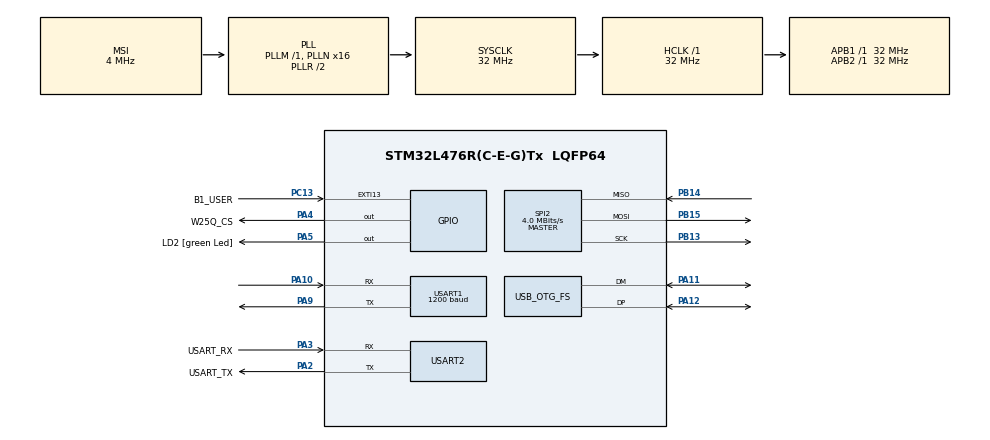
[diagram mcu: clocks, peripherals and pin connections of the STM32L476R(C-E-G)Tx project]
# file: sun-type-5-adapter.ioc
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CRC.InputDataInversionMode=CRC_INPUTDATA_INVERSION_BYTE
CRC.OutputDataInversionMode=CRC_OUTPUTDATA_INVERSION_ENABLE
FREERTOS.Tasks01=defaultTask,24,128,StartDefaultTask,Default,NULL,Dynamic,NULL,NULL
FREERTOS.configTOTAL_HEAP_SIZE=10240
Mcu.Family=STM32L4
Mcu.Name=STM32L476R(C-E-G)Tx
Mcu.Package=LQFP64
NVIC.EXTI15_10_IRQn=true\:5\:0\:false\:false\:true\:true\:true\:true\:true
NVIC.OTG_FS_IRQn=true\:5\:0\:false\:false\:true\:true\:true\:true\:true
NVIC.PriorityGroup=NVIC_PRIORITYGROUP_4
NVIC.TIM6_DAC_IRQn=true\:15\:0\:false\:false\:true\:false\:false\:true\:true
NVIC.TimeBase=TIM6_DAC_IRQn
NVIC.TimeBaseIP=TIM6
NVIC.USART1_IRQn=true\:5\:0\:false\:false\:true\:true\:true\:true\:true
PA10.Mode=Asynchronous
PA10.Signal=USART1_RX
PA11.Mode=Device_Only
PA11.Signal=USB_OTG_FS_DM
PA12.Mode=Device_Only
PA12.Signal=USB_OTG_FS_DP
PA13\ (JTMS-SWDIO).GPIO_Label=TMS
PA13\ (JTMS-SWDIO).Mode=Serial_Wire
PA13\ (JTMS-SWDIO).Signal=SYS_JTMS-SWDIO
PA14\ (JTCK-SWCLK).GPIO_Label=TCK
PA14\ (JTCK-SWCLK).Mode=Serial_Wire
PA14\ (JTCK-SWCLK).Signal=SYS_JTCK-SWCLK
PA2.GPIO_Label=USART_TX
PA2.GPIO_Mode=GPIO_MODE_AF_PP
PA2.GPIO_PuPd=GPIO_NOPULL
PA2.GPIO_Speed=GPIO_SPEED_FREQ_VERY_HIGH
PA2.Mode=Asynchronous
PA2.Signal=USART2_TX
PA3.GPIO_Label=USART_RX
PA3.GPIO_Mode=GPIO_MODE_AF_PP
PA3.GPIO_PuPd=GPIO_NOPULL
PA3.GPIO_Speed=GPIO_SPEED_FREQ_VERY_HIGH
PA3.Mode=Asynchronous
PA3.Signal=USART2_RX
PA4.GPIO_Label=W25Q_CS
PA4.GPIO_Speed=GPIO_SPEED_FREQ_VERY_HIGH
PA4.PinState=GPIO_PIN_SET
PA4.Signal=GPIO_Output
PA5.GPIO_Label=LD2 [green Led]
PA5.GPIO_ModeDefaultOutputPP=GPIO_MODE_OUTPUT_PP
PA5.GPIO_PuPd=GPIO_NOPULL
PA5.GPIO_Speed=GPIO_SPEED_FREQ_LOW
PA5.Signal=GPIO_Output
PA9.Mode=Asynchronous
PA9.Signal=USART1_TX
PB13.Mode=Full_Duplex_Master
PB13.Signal=SPI2_SCK
PB14.Mode=Full_Duplex_Master
PB14.Signal=SPI2_MISO
PB15.Mode=Full_Duplex_Master
PB15.Signal=SPI2_MOSI
PB3\ (JTDO-TRACESWO).GPIO_Label=SWO
PB3\ (JTDO-TRACESWO).Signal=SYS_JTDO-SWO
PC13.GPIO_Label=B1_USER
PC13.GPIO_ModeDefaultEXTI=GPIO_MODE_IT_FALLING
PC13.GPIO_PuPd=GPIO_PULLUP
PC13.Signal=GPXTI13
PC14-OSC32_IN\ (PC14).Mode=LSE-External-Oscillator
PC14-OSC32_IN\ (PC14).Signal=RCC_OSC32_IN
PC15-OSC32_OUT\ (PC15).Mode=LSE-External-Oscillator
PC15-OSC32_OUT\ (PC15).Signal=RCC_OSC32_OUT
PH0-OSC_IN\ (PH0).Signal=RCC_OSC_IN
PH1-OSC_OUT\ (PH1).Signal=RCC_OSC_OUT
ProjectManager.HeapSize=0x200
ProjectManager.StackSize=0x400
ProjectManager.TargetToolchain=CMake
RCC.ADCFreq_Value=48000000
RCC.AHBFreq_Value=32000000
RCC.APB1Freq_Value=32000000
RCC.APB1TimFreq_Value=32000000
RCC.APB2Freq_Value=32000000
RCC.APB2TimFreq_Value=32000000
RCC.CortexFreq_Value=32000000
RCC.HCLKFreq_Value=32000000
RCC.HSE_VALUE=8000000
RCC.HSI_VALUE=16000000
RCC.MSI_VALUE=4000000
RCC.PLLN=16
RCC.PLLSAI1N=24
RCC.PREFETCH_ENABLE=1
RCC.SYSCLKFreq_VALUE=32000000
RCC.SYSCLKSource=RCC_SYSCLKSOURCE_PLLCLK
RCC.USART1CLockSelection=RCC_USART1CLKSOURCE_HSI
RCC.USBFreq_Value=48000000
RCC.VCOOutputFreq_Value=64000000
SPI2.BaudRatePrescaler=SPI_BAUDRATEPRESCALER_8
SPI2.CalculateBaudRate=4.0 MBits/s
SPI2.DataSize=SPI_DATASIZE_8BIT
SPI2.Direction=SPI_DIRECTION_2LINES
SPI2.Mode=SPI_MODE_MASTER
SPI2.NSSPMode=SPI_NSS_PULSE_DISABLE
SPI2.VirtualType=VM_MASTER
USART1.BaudRate=1200
USART1.RxPinLevelInvertParam=ADVFEATURE_RXINV_ENABLE
USART1.TxPinLevelInvertParam=ADVFEATURE_TXINV_ENABLE
USART1.VirtualMode-Asynchronous=VM_ASYNC
USART2.VirtualMode-Asynchronous=VM_ASYNC
USB_OTG_FS.VirtualMode=Device_Only
VP_CRC_VS_CRC.Mode=CRC_Activate
VP_FREERTOS_VS_CMSIS_V2.Mode=CMSIS_V2
VP_SYS_VS_tim6.Mode=TIM6
board=NUCLEO-L476RG

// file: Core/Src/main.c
/* USER CODE BEGIN Header */
/**
  ******************************************************************************
  * @file           : main.c
  * @brief          : Main program body
  ******************************************************************************
  * @attention
  *
  * Copyright (c) 2026 STMicroelectronics.
  * All rights reserved.
  *
  * This software is licensed under terms that can be found in the LICENSE file
  * in the root directory of this software component.
  * If no LICENSE file comes with this software, it is provided AS-IS.
  *
  ******************************************************************************
  */
/* USER CODE END Header */
#include "main.h"
#include "cmsis_os.h"
#include "crc.h"
#include "spi.h"
#include "usart.h"
#include "usb_otg.h"
#include "gpio.h"
#include "crc32.h"

/* USER CODE BEGIN Includes */
#include <stdio.h>

#include "storage.h"
#include "w25q.h"
#include "sun_io.h"
/* USER CODE END Includes */

void SystemClock_Config(void);
void MX_FREERTOS_Init(void);

int main(void)
{

  /* MCU Configuration--------------------------------------------------------*/

  /* Reset of all peripherals, Initializes the Flash interface and the Systick. */
  HAL_Init();

  /* Configure the system clock */
  SystemClock_Config();

  /* Initialize all configured peripherals */
  MX_GPIO_Init();
  MX_USART2_UART_Init();
  MX_USART1_UART_Init();
  MX_USB_OTG_FS_PCD_Init();
  MX_SPI2_Init();
  MX_CRC_Init();
  /* USER CODE BEGIN 2 */
  setvbuf(stdout, NULL, _IONBF, 0); // Turning off buffer
  /* HAL_PCD_MspInit (in usb_otg.c) enables OTG_FS_IRQn at NVIC level.
   * Defer until tusb_init() completes in the USB task, to handle the
   * bus-powered cold-start case (USB physically attached when MCU boots)
   * without a window where interrupts arrive before TinyUSB is ready. */
  HAL_NVIC_DisableIRQ(OTG_FS_IRQn);

  w25q_init();

  /* USER CODE END 2 */

  /* Init scheduler */
  osKernelInitialize();  /* Call init function for freertos objects (in cmsis_os2.c) */
  MX_FREERTOS_Init();

  /* Start scheduler */
  osKernelStart();

  /* We should never get here as control is now taken by the scheduler */

  /* Infinite loop */
  while (1)
  {

  }
}

void SystemClock_Config(void)
{
  RCC_OscInitTypeDef RCC_OscInitStruct = {0};
  RCC_ClkInitTypeDef RCC_ClkInitStruct = {0};

  /** Configure the main internal regulator output voltage
  */
  if (HAL_PWREx_ControlVoltageScaling(PWR_REGULATOR_VOLTAGE_SCALE1) != HAL_OK)
  {
    Error_Handler();
  }

  /** Configure LSE Drive Capability
  */
  HAL_PWR_EnableBkUpAccess();
  __HAL_RCC_LSEDRIVE_CONFIG(RCC_LSEDRIVE_LOW);

  /** Initializes the RCC Oscillators according to the specified parameters
  * in the RCC_OscInitTypeDef structure.
  */
  RCC_OscInitStruct.OscillatorType = RCC_OSCILLATORTYPE_HSI|RCC_OSCILLATORTYPE_LSE
                              |RCC_OSCILLATORTYPE_MSI;
  RCC_OscInitStruct.LSEState = RCC_LSE_ON;
  RCC_OscInitStruct.HSIState = RCC_HSI_ON;
  RCC_OscInitStruct.HSICalibrationValue = RCC_HSICALIBRATION_DEFAULT;
  RCC_OscInitStruct.MSIState = RCC_MSI_ON;
  RCC_OscInitStruct.MSICalibrationValue = 0;
  RCC_OscInitStruct.MSIClockRange = RCC_MSIRANGE_6;
  RCC_OscInitStruct.PLL.PLLState = RCC_PLL_ON;
  RCC_OscInitStruct.PLL.PLLSource = RCC_PLLSOURCE_MSI;
  RCC_OscInitStruct.PLL.PLLM = 1;
  RCC_OscInitStruct.PLL.PLLN = 16;
  RCC_OscInitStruct.PLL.PLLP = RCC_PLLP_DIV7;
  RCC_OscInitStruct.PLL.PLLQ = RCC_PLLQ_DIV2;
  RCC_OscInitStruct.PLL.PLLR = RCC_PLLR_DIV2;
  if (HAL_RCC_OscConfig(&RCC_OscInitStruct) != HAL_OK)
  {
    Error_Handler();
  }

  /** Initializes the CPU, AHB and APB buses clocks
  */
  RCC_ClkInitStruct.ClockType = RCC_CLOCKTYPE_HCLK|RCC_CLOCKTYPE_SYSCLK
                              |RCC_CLOCKTYPE_PCLK1|RCC_CLOCKTYPE_PCLK2;
  RCC_ClkInitStruct.SYSCLKSource = RCC_SYSCLKSOURCE_PLLCLK;
  RCC_ClkInitStruct.AHBCLKDivider = RCC_SYSCLK_DIV1;
  RCC_ClkInitStruct.APB1CLKDivider = RCC_HCLK_DIV1;
  RCC_ClkInitStruct.APB2CLKDivider = RCC_HCLK_DIV1;

  if (HAL_RCC_ClockConfig(&RCC_ClkInitStruct, FLASH_LATENCY_1) != HAL_OK)
  {
    Error_Handler();
  }

  /** Enable MSI Auto calibration
  */
  HAL_RCCEx_EnableMSIPLLMode();
}

/* USER CODE BEGIN 4 */
/**
 * @brief Override newlib's putchar; redirect printf to VCP (USART2).
 *
 * newlib's @c printf / @c puts / etc. eventually call @c _write(),
 * which in turn calls @c __io_putchar() one character at a time.
 * @c __io_putchar is declared @c __weak in syscalls.c with an empty
 * body — defining this strong version overrides it and routes
 * character output to USART2 (the ST-LINK VCP).
 *
 * Uses blocking @c HAL_UART_Transmit. Safe to invoke from task context
 * (including from any task that calls printf).
 *
 * @param ch The character to output (passed as @c int per C89 convention;
 *           only the low byte is used).
 * @return The character output (i.e. @p ch), so callers can detect EOF
 *         or chain calls.
 *
 * @warning Blocking transmission — do NOT call printf from ISR context.
 *          ~87 µs per char at 115200 baud; a typical "0x%02X\r\n"
 *          blocks for ~500 µs.
 * @note Disabling stdout buffering via @c setvbuf(stdout, NULL, _IONBF, 0)
 *       at startup makes each printf flush immediately — useful for
 *       interleaved debug output.
 */
int __io_putchar(int ch)
{
  uint8_t c = (uint8_t)ch;
  HAL_UART_Transmit(&huart2, &c, 1, HAL_MAX_DELAY);
  return ch;
}

/**
 * @brief Processing user key stroke.
 */
void HAL_GPIO_EXTI_Callback(uint16_t GPIO_Pin)
{
  if (GPIO_Pin == B1_USER_Pin) {
    sun_io_request_reset();
  }
}
/* USER CODE END 4 */

void HAL_TIM_PeriodElapsedCallback(TIM_HandleTypeDef *htim)
{
  if (htim->Instance == TIM6)
  {
    HAL_IncTick();
  }
}

void Error_Handler(void)
{
  __disable_irq();
  while (1)
  {
  }
}

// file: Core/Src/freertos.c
/* USER CODE BEGIN Header */
/**
  ******************************************************************************
  * File Name          : freertos.c
  * Description        : Code for freertos applications
  ******************************************************************************
  * @attention
  *
  * Copyright (c) 2026 STMicroelectronics.
  * All rights reserved.
  *
  * This software is licensed under terms that can be found in the LICENSE file
  * in the root directory of this software component.
  * If no LICENSE file comes with this software, it is provided AS-IS.
  *
  ******************************************************************************
  */
/* USER CODE END Header */

#include "FreeRTOS.h"
#include "task.h"
#include "main.h"
#include "cmsis_os.h"

/* USER CODE BEGIN Includes */
#include "tusb.h"
#include "sun_io.h"
#include "sun_protocol.h"
#include "sun_keymap.h"
#include "hid_keyboard.h"
#include "hid_extra.h"
#include "usb_mode.h"
#include "settings.h"
#include "storage.h"
#include "registry.h"
#include "remap.h"
/* USER CODE END Includes */

/* USER CODE BEGIN Variables */
/* USB device task: handles all USB events and drives TinyUSB stack */
osThreadId_t usbTaskHandle;
const osThreadAttr_t usbTask_attributes = {
  .name = "usbTask",
  .stack_size = 1024 * 4,                       /* 4 KB stack */
  .priority = (osPriority_t) osPriorityRealtime,/* Highest - USB has strict timing */
};
osThreadId_t sunKeyboardTaskHandle;
const osThreadAttr_t sunKeyboardTask_attributes = {
  .name = "sunKbd",
  .stack_size = 2048,
  .priority = osPriorityAboveNormal,
};
/* USER CODE END Variables */
/* Definitions for defaultTask */
osThreadId_t defaultTaskHandle;
const osThreadAttr_t defaultTask_attributes = {
  .name = "defaultTask",
  .stack_size = 128 * 4,
  .priority = (osPriority_t) osPriorityNormal,
};

/* USER CODE BEGIN FunctionPrototypes */
void StartUsbTask(void *argument);
void StartSunKeyboardTask(void *argument);
/* USER CODE END FunctionPrototypes */

void StartDefaultTask(void *argument);

void MX_FREERTOS_Init(void); /* (MISRA C 2004 rule 8.1) */

void MX_FREERTOS_Init(void) {

  /* Create the thread(s) */
  /* creation of defaultTask */
  defaultTaskHandle = osThreadNew(StartDefaultTask, NULL, &defaultTask_attributes);

  /* USER CODE BEGIN RTOS_THREADS */
  /* creation of usbTask */
  usbTaskHandle = osThreadNew(StartUsbTask, NULL, &usbTask_attributes);
  sunKeyboardTaskHandle = osThreadNew(StartSunKeyboardTask, NULL, &sunKeyboardTask_attributes);
  if (!sun_io_init(sunKeyboardTaskHandle)) {
    /* sun_io_init 失败 —— HAL_UART_Receive_IT 没起来
     * 这里可以 Error_Handler() 或 LED 闪烁告警
     * 目前先什么都不做，sunKeyboardTask 会一直 wait 没有通知 */
  }
  /* USER CODE END RTOS_THREADS */

}

void StartDefaultTask(void *argument)
{
  for(;;)
  {
    osDelay(1);
  }
}

/* USER CODE BEGIN Application */

/*-----------------------------------------------------------*/
/* USB device task                                           */
/*-----------------------------------------------------------*/

/**
  * @brief  USB device task. Initializes TinyUSB, then processes events forever.
  *         Must run at highest priority. tud_task() blocks on internal
  *         semaphore until USB events arrive, so no vTaskDelay is needed.
  */
void StartUsbTask(void *argument)
{
  (void) argument;

  /* DIAGNOSTIC: blink LD2 3 times to prove task is scheduled */
  for (int i = 0; i < 3; i++) {
    HAL_GPIO_WritePin(LD2_GPIO_Port, LD2_Pin, GPIO_PIN_SET);
    osDelay(200);
    HAL_GPIO_WritePin(LD2_GPIO_Port, LD2_Pin, GPIO_PIN_RESET);
    osDelay(200);
  }

  /* Initialize TinyUSB device stack on roothub port 0 */
  tusb_rhport_init_t dev_init = {
    .role  = TUSB_ROLE_DEVICE,
    .speed = TUSB_SPEED_AUTO
  };

  storage_mount();        /* 挂载 flash 对象存储（开机仅一次） */
  registry_init();        /* 把持久化设置读进 RAM 缓存 */
  remap_init();        /* 载入重映射覆盖表 */
  usb_mode_init();        /* 据此设定当前模式 */
  tusb_init(0, &dev_init);

  USB_OTG_FS->GCCFG &= ~USB_OTG_GCCFG_VBDEN;
  HAL_NVIC_EnableIRQ(OTG_FS_IRQn);
  /* RTOS forever loop */
  for(;;)
  {
    tud_task();
  }
}

/**
 * @brief One-shot timer callback. Runs in the RTOS timer service task, NOT in
 * the keyboard task — so it only signals via a thread flag and touches
 * no shared state. The keyboard task does the actual mode change.
 *
 */
static void longpress_cb(void *arg)
{
  (void) arg;
  osThreadFlagsSet(sunKeyboardTaskHandle, NOTIFY_SETTINGS_ENTER);
}

static void settings_blink_error(void)
{
  bool sound = (registry()->feedback_sound != 0);
  for (int i = 0; i < 4; i++) {
    sun_io_set_raw_led(0x00); osDelay(50);
    if (sound) sun_io_bell_off();
    sun_io_set_raw_led(0x0F); osDelay(50);   /* 收在全亮，回到设置模式常态 */
    if (i != 3)  if (sound) sun_io_bell_on();
  }
}

static void settings_apply_result(settings_result_t r, bool *settings_mode)
{
  switch (r) {
  case SETTINGS_CONTINUE:
    break;
  case SETTINGS_ERROR:
    settings_blink_error();
    break;
  case SETTINGS_DONE:
    sun_io_set_raw_led(0x00);
    osDelay(250);
    sun_io_set_raw_led(0x0F);
    if (registry()->feedback_sound) sun_io_bell_on();
    osDelay(750);
    if (registry()->feedback_sound) sun_io_bell_off();
    *settings_mode = false;
    sun_io_flush_led();
    break;
  case SETTINGS_CANCEL:
    *settings_mode = false;
    sun_io_flush_led();
    break;
  }
}

/**
 * @brief Start the keyboard task
 *
 * Drains the ring buffer.
 */
void StartSunKeyboardTask(void *argument)
{
  (void)argument;
  sun_protocol_t parser;
  hid_keyboard_state_t kbd;
  bool settings_mode = false;
  osTimerId_t longpress_timer = osTimerNew(longpress_cb, osTimerOnce, NULL, NULL);

  sun_protocol_init(&parser);
  hid_keyboard_init(&kbd);

  for (;;) {
    uint32_t flags = osThreadFlagsWait(
        SUN_IO_NOTIFY_RX_AVAILABLE | SUN_IO_NOTIFY_LED_PENDING | SUN_IO_NOTIFY_RESET_PENDING
        | NOTIFY_SETTINGS_ENTER,
        osFlagsWaitAny,
        osWaitForever);

    if (flags & NOTIFY_SETTINGS_ENTER) {
      settings_mode = true;
      settings_enter();              /* 复位状态机到顶层 */
      sun_io_set_raw_led(0x0F);
    }

    if (flags & SUN_IO_NOTIFY_RX_AVAILABLE)
    {
      uint8_t byte;
      while (sun_io_get_byte(&byte)) {
        sun_event_t ev = sun_protocol_decode_byte(&parser, byte);
        switch (ev.type) {

        case SUN_EVENT_MAKE: {
            sun_key_t k = sun_keymap_lookup(ev.data);

            if (settings_mode) {
              settings_apply_result(settings_key(ev.data, k), &settings_mode);
              break;
            }

            const remap_target_t *rt = remap_lookup(ev.data);   /* 重映射优先 */
            if (rt) {
              hid_keyboard_press_modifier(&kbd, rt->modifiers);
              for (uint8_t n = 0; n < rt->key_count; n++)
                hid_keyboard_press_key(&kbd, rt->keys[n]);
              break;
            }

            switch (k.kind) {
            case SUN_KEY_KIND_KEYBOARD:
              hid_keyboard_press_key(&kbd, (uint8_t)k.code);
              break;
            case SUN_KEY_KIND_MODIFIER:
              hid_keyboard_press_modifier(&kbd, (uint8_t)k.code);
              break;
            case SUN_KEY_KIND_CONSUMER:
              hid_keyboard_press_consumer(&kbd, (uint16_t)k.code);
              break;
            case SUN_KEY_KIND_SYSTEM:
              hid_keyboard_press_system(&kbd, (uint8_t)k.code);
              break;
            case SUN_KEY_KIND_INTERNAL:
              osTimerStart(longpress_timer, 500U);   /* arm long-press (~1.5s @ 1ms tick) */
              break;
            case SUN_KEY_KIND_NONE:
              break;
            }
            break;
        }

        case SUN_EVENT_BREAK: {
            sun_key_t k = sun_keymap_lookup(ev.data);

            if (settings_mode) {
              break;
            }

            const remap_target_t *rt = remap_lookup(ev.data);
            if (rt) {
              for (uint8_t n = 0; n < rt->key_count; n++)
                hid_keyboard_release_key(&kbd, rt->keys[n]);
              hid_keyboard_release_modifier(&kbd, rt->modifiers);
              break;
            }

            switch (k.kind) {
            case SUN_KEY_KIND_KEYBOARD:
              hid_keyboard_release_key(&kbd, (uint8_t)k.code);
              break;
            case SUN_KEY_KIND_MODIFIER:
              hid_keyboard_release_modifier(&kbd, (uint8_t)k.code);
              break;
            case SUN_KEY_KIND_CONSUMER:
              hid_keyboard_release_consumer(&kbd);
              break;
            case SUN_KEY_KIND_SYSTEM:
              hid_keyboard_release_system(&kbd, (uint8_t)k.code);
              break;
            case SUN_KEY_KIND_INTERNAL:
              osTimerStop(longpress_timer);   /* released within 1.5s = short press, cancel */
              break;
            case SUN_KEY_KIND_NONE:
              break;
            }
            break;
        }

        case SUN_EVENT_ALL_KEYS_UP:
          if (settings_mode) {
            settings_apply_result(settings_all_keys_up(), &settings_mode);
          } else {
            hid_keyboard_reset(&kbd);
            hid_keyboard_reset_consumer(&kbd);
            hid_keyboard_reset_system(&kbd);
          }
          break;

        case SUN_EVENT_RESET:
          hid_keyboard_reset(&kbd);
          hid_keyboard_reset_consumer(&kbd);
          hid_keyboard_reset_system(&kbd);
          click_init();    /* 键盘复位会忘掉点击状态，重下发我们存的 */
          break;
        case SUN_EVENT_UNKNOWN:
        case SUN_EVENT_NONE:
          break;
        }
      }
    }

    if ((flags & SUN_IO_NOTIFY_LED_PENDING) && !settings_mode)
    {
      sun_io_flush_led();
    }

    if (flags & SUN_IO_NOTIFY_RESET_PENDING)
    {
      sun_io_flush_reset();
      hid_keyboard_reset(&kbd);
    }
  }
}

/*-----------------------------------------------------------*/
/* USB device state callbacks (optional, used as visual cue) */
/*-----------------------------------------------------------*/

/* Invoked when device is mounted (host enumeration complete) */
void tud_mount_cb(void)
{
  HAL_GPIO_WritePin(LD2_GPIO_Port, LD2_Pin, GPIO_PIN_SET);
}

/* Invoked when device is unmounted */
void tud_umount_cb(void)
{
  HAL_GPIO_WritePin(LD2_GPIO_Port, LD2_Pin, GPIO_PIN_RESET);
}

void tud_suspend_cb(bool remote_wakeup_en)
{
  (void) remote_wakeup_en;
  /* Don't turn off LD2 on suspend - device is still mounted, just idle.
   * Only umount should turn off LD2. */
}

void tud_resume_cb(void)
{
  (void) 0;  /* LD2 stays on - was already on from mount */
}

/*-----------------------------------------------------------*/
/* HID class callbacks (required by TinyUSB - no weak defaults) */
/*-----------------------------------------------------------*/

/* Invoked when received GET_REPORT control request.
 * Application must fill buffer report's content and return its length.
 * Returning zero will cause the stack to STALL the request.
 * For a basic keyboard we don't support host-initiated report queries. */
uint16_t tud_hid_get_report_cb(uint8_t instance, uint8_t report_id,
                                hid_report_type_t report_type,
                                uint8_t *buffer, uint16_t reqlen)
{
  (void) instance;
  (void) report_id;
  (void) report_type;
  (void) buffer;
  (void) reqlen;

  return 0;  /* STALL - not implemented */
}

/* Invoked when received SET_REPORT control request,
 * or received data on OUT endpoint (Report ID = 0, Type = 0).
 * For a keyboard, this is how host sends LED state (Caps/Num/Scroll Lock). */
void tud_hid_set_report_cb(uint8_t instance, uint8_t report_id,
                           hid_report_type_t report_type,
                           uint8_t const *buffer, uint16_t bufsize)
{
  (void) instance;
  (void) report_id;
  (void) report_type;
  (void) buffer;
  (void) bufsize;

  if (report_type == HID_REPORT_TYPE_OUTPUT && bufsize >= 1) {
    sun_io_request_led(buffer[0]);
  }
}

/* USER CODE END Application */
